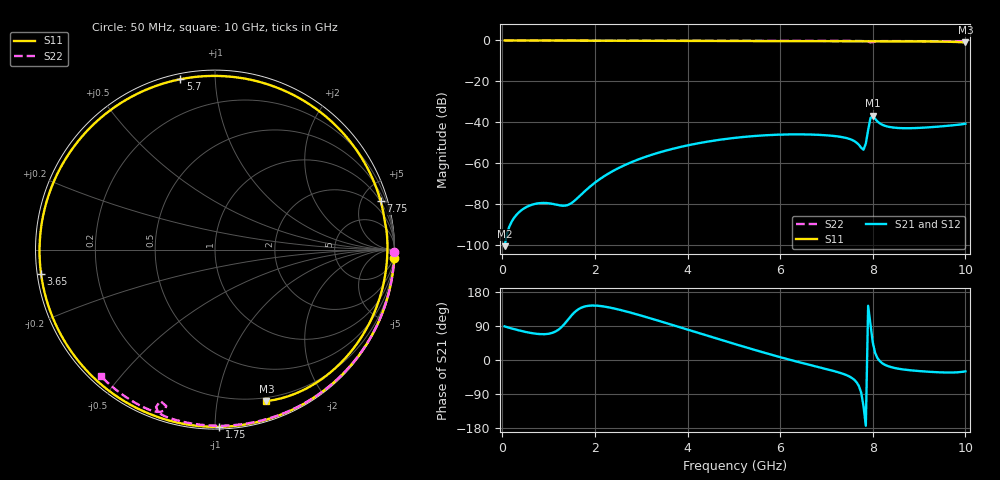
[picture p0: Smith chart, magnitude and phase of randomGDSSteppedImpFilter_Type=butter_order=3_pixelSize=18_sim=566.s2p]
! freq	dB(S11)	phase(S11)	dB(S12)	phase(S12)
!  dB(S21)	phase(S21)	dB(S22)	phase(S22)
!S-par simulation data
#  GHz  S  DB  R 50
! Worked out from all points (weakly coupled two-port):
!   200 points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, 50 MHz to 10 GHz, reference 50 ohm
!   highest |S21| = -36.85 dB at 8 GHz (marker M1); lowest = -100.6 dB at 50 MHz (marker M2)
!   lowest |S11| = -1.0 dB at 10 GHz (marker M3), VSWR 17.41, Z = 8.41 - j69.1 ohm
!   |S11| at or under -10 dB: nowhere
!   |S22| runs from -0.9 to 0.0 dB; largest |S21 - S12| = 0
!   S11 on the Smith chart (normalised r, x): 50 MHz: 0, -43; 1.75 GHz: 0.01, -1.02; 3.65 GHz: 0.01, -0.07; 5.7 GHz: 0.03, +0.82; 7.75 GHz: 0.95, +6.81; 10 GHz: 0.17, -1.38
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0.05  -0.00 -2.7  -100.59 88.7  -100.59 88.7  -0.00 -0.8
0.65  -0.04 -34.1  -80.25 70.6  -80.25 70.6  -0.01 -9.9
1.45  -0.09 -74.3  -80.11 111.2  -80.11 111.2  -0.03 -22.0
1.75  -0.11 -88.7  -74.38 140.1  -74.38 140.1  -0.03 -26.4
2.5  -0.14 -122.9  -62.51 133.6  -62.51 133.6  -0.05 -37.4
3.4  -0.18 -161.7  -54.70 102.6  -54.70 102.6  -0.07 -50.3
3.65  -0.19 -172.2  -53.15 93.3  -53.15 93.3  -0.07 -53.8
4.35  -0.22 158.6  -49.79 67.1  -49.79 67.1  -0.09 -63.4
5.05  -0.25 129.1  -47.55 41.1  -47.55 41.1  -0.11 -72.8
5.7  -0.28 101.5  -46.34 17.8  -46.34 17.8  -0.14 -81.2
6.2  -0.29 80.2  -45.94 0.9  -45.94 0.9  -0.16 -87.6
6.7  -0.30 59.0  -46.03 -14.9  -46.03 -14.9  -0.18 -93.9
7.45  -0.32 28.3  -47.83 -40.9  -47.83 -40.9  -0.23 -103.3
7.75  -0.34 16.4  -52.45 -86.2  -52.45 -86.2  -0.29 -107.5
7.8  -0.35 14.5  -53.41 -121.8  -53.41 -121.8  -0.32 -108.5
7.85  -0.35 12.5  -50.41 -173.4  -50.41 -173.4  -0.39 -109.5
7.95  -0.36 8.8  -37.96 95.5  -37.96 95.5  -0.95 -109.8
8  -0.34 7.0  -36.85 46.3  -36.85 46.3  -0.79 -107.3
8.15  -0.35 1.1  -40.51 -2.8  -40.51 -2.8  -0.35 -109.7
8.35  -0.36 -6.4  -42.25 -17.1  -42.25 -17.1  -0.31 -112.6
9.25  -0.49 -39.2  -42.42 -31.3  -42.42 -31.3  -0.37 -123.5
10  -1.00 -71.3  -40.72 -30.0  -40.72 -30.0  -0.45 -132.1
